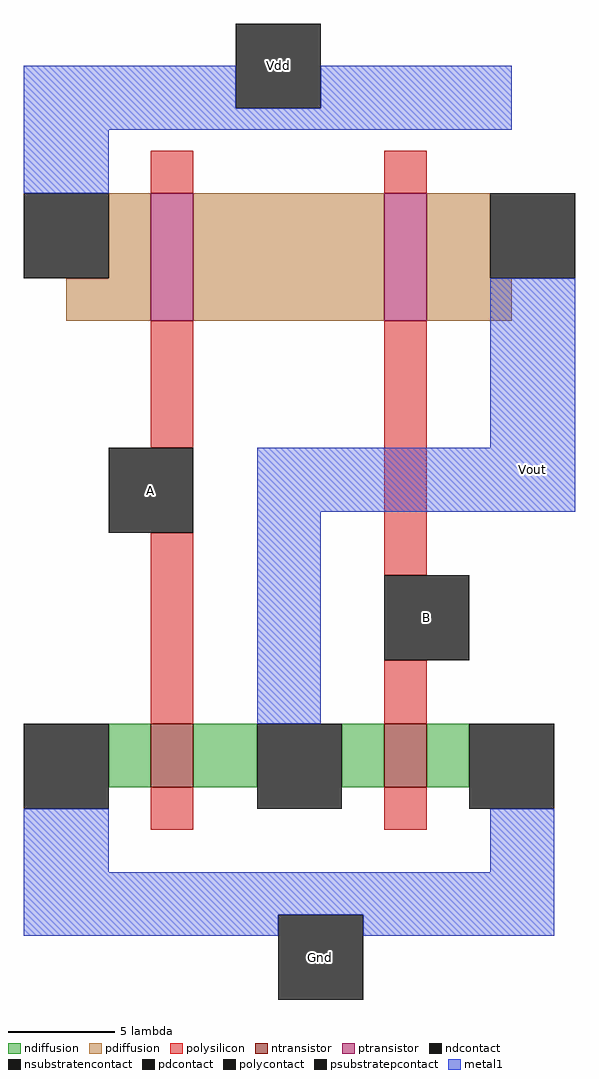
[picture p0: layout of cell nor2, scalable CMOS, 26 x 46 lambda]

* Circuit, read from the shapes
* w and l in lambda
.subckt nor2 A B Gnd Vdd Vout
M1 Vout A Gnd Gnd nfet w=3 l=2
M2 Gnd B Vout Gnd nfet w=3 l=2
M3 n1 A Vdd Vdd pfet w=6 l=2
M4 Vout B n1 Vdd pfet w=6 l=2
.ends

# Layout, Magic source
magic
tech scmos
<< polysilicon >>
rect 5 24 7 26
rect 16 24 18 26
rect 5 12 7 18
rect 5 -1 7 8
rect 16 6 18 18
rect 16 -1 18 2
rect 5 -6 7 -4
rect 16 -6 18 -4
<< ndiffusion >>
rect 3 -4 5 -1
rect 7 -4 10 -1
rect 14 -4 16 -1
rect 18 -4 20 -1
<< pdiffusion >>
rect 3 20 5 24
rect 1 18 5 20
rect 7 18 16 24
rect 18 20 21 24
rect 18 18 22 20
<< metal1 >>
rect -1 28 9 30
rect 13 28 22 30
rect -1 27 22 28
rect -1 24 3 27
rect 21 12 25 20
rect 10 9 25 12
rect 10 -1 13 9
rect -1 -8 3 -5
rect 21 -8 24 -5
rect -1 -10 24 -8
rect -1 -11 11 -10
rect 15 -11 24 -10
<< ntransistor >>
rect 5 -4 7 -1
rect 16 -4 18 -1
<< ptransistor >>
rect 5 18 7 24
rect 16 18 18 24
<< polycontact >>
rect 3 8 7 12
rect 16 2 20 6
<< ndcontact >>
rect -1 -5 3 -1
rect 10 -5 14 -1
rect 20 -5 24 -1
<< pdcontact >>
rect -1 20 3 24
rect 21 20 25 24
<< psubstratepcontact >>
rect 11 -14 15 -10
<< nsubstratencontact >>
rect 9 28 13 32
<< labels >>
rlabel polycontact 3 8 7 12 1 A
rlabel nsubstratencontact 9 28 13 32 5 Vdd
rlabel metal1 21 9 25 13 7 Vout
rlabel polycontact 16 2 20 6 1 B
rlabel psubstratepcontact 11 -14 15 -10 1 Gnd
<< end >>
